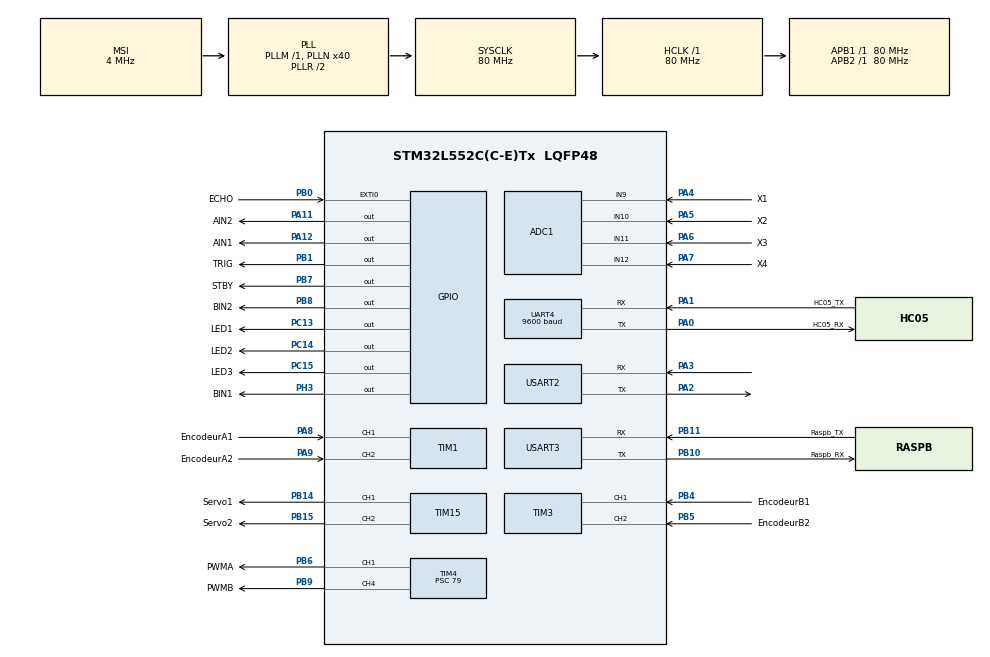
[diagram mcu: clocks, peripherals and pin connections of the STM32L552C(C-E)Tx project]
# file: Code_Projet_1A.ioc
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ADC1.Channel-0\#ChannelRegularConversion=ADC_CHANNEL_9
ADC1.Channel-1\#ChannelRegularConversion=ADC_CHANNEL_10
ADC1.Channel-2\#ChannelRegularConversion=ADC_CHANNEL_11
ADC1.Channel-3\#ChannelRegularConversion=ADC_CHANNEL_12
ADC1.ContinuousConvMode=ENABLE
ADC1.DMAContinuousRequests=ENABLE
ADC1.EOCSelection=ADC_EOC_SEQ_CONV
ADC1.NbrOfConversion=4
ADC1.NbrOfConversionFlag=1
ADC1.OffsetNumber-0\#ChannelRegularConversion=ADC_OFFSET_NONE
ADC1.OffsetNumber-1\#ChannelRegularConversion=ADC_OFFSET_NONE
ADC1.OffsetNumber-2\#ChannelRegularConversion=ADC_OFFSET_NONE
ADC1.OffsetNumber-3\#ChannelRegularConversion=ADC_OFFSET_NONE
ADC1.Rank-0\#ChannelRegularConversion=1
ADC1.Rank-1\#ChannelRegularConversion=2
ADC1.Rank-2\#ChannelRegularConversion=3
ADC1.Rank-3\#ChannelRegularConversion=4
ADC1.SamplingTime-0\#ChannelRegularConversion=ADC_SAMPLETIME_92CYCLES_5
ADC1.SamplingTime-1\#ChannelRegularConversion=ADC_SAMPLETIME_92CYCLES_5
ADC1.SamplingTime-2\#ChannelRegularConversion=ADC_SAMPLETIME_92CYCLES_5
ADC1.SamplingTime-3\#ChannelRegularConversion=ADC_SAMPLETIME_92CYCLES_5
ADC1.master=1
Dma.ADC1.0.Channel_PRIV_NPRIV=DMA_CHANNEL_NPRIV_DISABLE
Dma.ADC1.0.Direction=DMA_PERIPH_TO_MEMORY
Dma.ADC1.0.EventEnable=DISABLE
Dma.ADC1.0.Instance=DMA1_Channel1
Dma.ADC1.0.MemDataAlignment=DMA_MDATAALIGN_HALFWORD
Dma.ADC1.0.MemInc=DMA_MINC_ENABLE
Dma.ADC1.0.Mode=DMA_CIRCULAR
Dma.ADC1.0.PeriphDataAlignment=DMA_PDATAALIGN_HALFWORD
Dma.ADC1.0.PeriphInc=DMA_PINC_DISABLE
Dma.ADC1.0.Polarity=HAL_DMAMUX_REQ_GEN_RISING
Dma.ADC1.0.Priority=DMA_PRIORITY_LOW
Dma.ADC1.0.RequestNumber=1
Dma.ADC1.0.SignalID=NONE
Dma.ADC1.0.SyncEnable=DISABLE
Dma.ADC1.0.SyncPolarity=HAL_DMAMUX_SYNC_NO_EVENT
Dma.ADC1.0.SyncRequestNumber=1
Dma.ADC1.0.SyncSignalID=NONE
Dma.Request0=ADC1
Mcu.Family=STM32L5
Mcu.Name=STM32L552C(C-E)Tx
Mcu.Package=LQFP48
NVIC.DMA1_Channel1_IRQn=true\:0\:0\:false\:false\:true\:false\:true\:true
NVIC.PriorityGroup=NVIC_PRIORITYGROUP_3
NVIC.UART4_IRQn=true\:0\:0\:false\:false\:true\:true\:true\:true
PA0.GPIO_Label=HC05_RX
PA0.Mode=Asynchronous
PA0.Signal=UART4_TX
PA1.GPIO_Label=HC05_TX
PA1.Mode=Asynchronous
PA1.Signal=UART4_RX
PA11.GPIO_Label=AIN2
PA11.Signal=GPIO_Output
PA12.GPIO_Label=AIN1
PA12.Signal=GPIO_Output
PA13\ (JTMS/SWDIO).Mode=Trace_Asynchronous_SW
PA13\ (JTMS/SWDIO).Signal=DEBUG_JTMS-SWDIO
PA14\ (JTCK/SWCLK).Mode=Trace_Asynchronous_SW
PA14\ (JTCK/SWCLK).Signal=DEBUG_JTCK-SWCLK
PA2.Mode=Asynchronous
PA2.Signal=USART2_TX
PA3.Mode=Asynchronous
PA3.Signal=USART2_RX
PA4.GPIO_Label=X1
PA4.Signal=ADCx_IN9
PA5.GPIO_Label=X2
PA5.Signal=ADCx_IN10
PA6.GPIO_Label=X3
PA6.Signal=ADCx_IN11
PA7.GPIO_Label=X4
PA7.Signal=ADCx_IN12
PA8.GPIO_Label=EncodeurA1
PA8.Signal=S_TIM1_CH1
PA9.GPIO_Label=EncodeurA2
PA9.Signal=S_TIM1_CH2
PB0.GPIO_Label=ECHO
PB0.Signal=GPXTI0
PB1.GPIO_Label=TRIG
PB1.Signal=GPIO_Output
PB10.GPIO_Label=Raspb_RX
PB10.Mode=Asynchronous
PB10.Signal=USART3_TX
PB11.GPIO_Label=Raspb_TX
PB11.Mode=Asynchronous
PB11.Signal=USART3_RX
PB14.GPIO_Label=Servo1
PB14.Signal=S_TIM15_CH1
PB15.GPIO_Label=Servo2
PB15.Signal=S_TIM15_CH2
PB3\ (JTDO/TRACESWO).Mode=Trace_Asynchronous_SW
PB3\ (JTDO/TRACESWO).Signal=DEBUG_JTDO-SWO
PB4\ (NJTRST).GPIO_Label=EncodeurB1
PB4\ (NJTRST).Signal=S_TIM3_CH1
PB5.GPIO_Label=EncodeurB2
PB5.Signal=S_TIM3_CH2
PB6.GPIO_Label=PWMA
PB6.Signal=S_TIM4_CH1
PB7.GPIO_Label=STBY
PB7.Signal=GPIO_Output
PB8.GPIO_Label=BIN2
PB8.Signal=GPIO_Output
PB9.GPIO_Label=PWMB
PB9.Signal=S_TIM4_CH4
PC13.GPIO_Label=LED1
PC13.Signal=GPIO_Output
PC14-OSC32_IN\ (PC14).GPIO_Label=LED2
PC14-OSC32_IN\ (PC14).Signal=GPIO_Output
PC15-OSC32_OUT\ (PC15).GPIO_Label=LED3
PC15-OSC32_OUT\ (PC15).Signal=GPIO_Output
PH3-BOOT0.GPIO_Label=BIN1
PH3-BOOT0.Signal=GPIO_Output
ProjectManager.HeapSize=0x200
ProjectManager.StackSize=0x400
ProjectManager.TargetToolchain=STM32CubeIDE
RCC.ADCFreq_Value=32000000
RCC.AHBFreq_Value=80000000
RCC.APB1Freq_Value=80000000
RCC.APB1TimFreq_Value=80000000
RCC.APB2Freq_Value=80000000
RCC.APB2TimFreq_Value=80000000
RCC.CortexFreq_Value=80000000
RCC.HCLKFreq_Value=80000000
RCC.HSE_VALUE=16000000
RCC.HSI48_VALUE=48000000
RCC.HSI_VALUE=16000000
RCC.LSE_VALUE=32768
RCC.MSI_VALUE=4000000
RCC.PLLN=40
RCC.PLLSAI1N=16
RCC.SYSCLKFreq_VALUE=80000000
RCC.SYSCLKSource=RCC_SYSCLKSOURCE_PLLCLK
RCC.USBFreq_Value=32000000
RCC.VCOOutputFreq_Value=160000000
SH.ADCx_IN10.0=ADC1_IN10,IN10-Single-Ended
SH.ADCx_IN11.0=ADC1_IN11,IN11-Single-Ended
SH.ADCx_IN12.0=ADC1_IN12,IN12-Single-Ended
SH.ADCx_IN9.0=ADC1_IN9,IN9-Single-Ended
SH.S_TIM15_CH1.0=TIM15_CH1,PWM Generation1 CH1
SH.S_TIM15_CH2.0=TIM15_CH2,PWM Generation2 CH2
SH.S_TIM1_CH1.0=TIM1_CH1,Encoder_Interface
SH.S_TIM1_CH2.0=TIM1_CH2,Encoder_Interface
SH.S_TIM3_CH1.0=TIM3_CH1,Encoder_Interface
SH.S_TIM3_CH2.0=TIM3_CH2,Encoder_Interface
SH.S_TIM4_CH1.0=TIM4_CH1,PWM Generation1 CH1
SH.S_TIM4_CH4.0=TIM4_CH4,PWM Generation4 CH4
TIM15.Channel-PWM\ Generation1\ CH1=TIM_CHANNEL_1
TIM15.Channel-PWM\ Generation2\ CH2=TIM_CHANNEL_2
TIM4.Channel-PWM\ Generation1\ CH1=TIM_CHANNEL_1
TIM4.Channel-PWM\ Generation4\ CH4=TIM_CHANNEL_4
TIM4.Period=199
TIM4.Prescaler=79
UART4.BaudRate=9600
USART2.VirtualMode-Asynchronous=VM_ASYNC
USART3.VirtualMode-Asynchronous=VM_ASYNC
VP_ICACHE_VS_ICACHE.Mode=DirectMappedCache
VP_PWR_VS_DBSignals.Mode=DisableDeadBatterySignals
VP_PWR_VS_SECSignals.Mode=Security/Privilege
VP_TIM15_VS_ClockSourceINT.Mode=Internal
VP_TIM4_VS_ClockSourceINT.Mode=Internal
board=custom

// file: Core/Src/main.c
/* USER CODE BEGIN Header */
/**
  ******************************************************************************
  * @file           : main.c
  * @brief          : Main program body
  ******************************************************************************
  * @attention
  *
  * Copyright (c) 2025 STMicroelectronics.
  * All rights reserved.
  *
  * This software is licensed under terms that can be found in the LICENSE file
  * in the root directory of this software component.
  * If no LICENSE file comes with this software, it is provided AS-IS.
  *
  ******************************************************************************
  */
/* USER CODE END Header */
#include "main.h"

/* USER CODE BEGIN Includes */
#include <stdio.h>
#include <string.h>
#include "Functions.h"
/* USER CODE END Includes */

/* USER CODE BEGIN PD */
#define BUFFER_SIZE 1

#define LED_BLUE_PIN GPIO_PIN_15
#define LED_BLUE_PORT GPIOA
/* USER CODE END PD */

ADC_HandleTypeDef hadc1;
DMA_HandleTypeDef hdma_adc1;

TIM_HandleTypeDef htim1;
TIM_HandleTypeDef htim3;
TIM_HandleTypeDef htim4;
TIM_HandleTypeDef htim15;

UART_HandleTypeDef huart4;
UART_HandleTypeDef huart2;
UART_HandleTypeDef huart3;

/* USER CODE BEGIN PV */
uint8_t received_data;

/* USER CODE END PV */

void SystemClock_Config(void);
static void MX_GPIO_Init(void);
static void MX_DMA_Init(void);
static void MX_USART2_UART_Init(void);
static void MX_TIM1_Init(void);
static void MX_UART4_Init(void);
static void MX_ADC1_Init(void);
static void MX_ICACHE_Init(void);
static void MX_TIM4_Init(void);
static void MX_TIM3_Init(void);
static void MX_TIM15_Init(void);
static void MX_USART3_UART_Init(void);

/* USER CODE BEGIN 0 */
int _write(int file, char *ptr, int len)
{
    HAL_UART_Transmit(&huart2, (uint8_t*)ptr, len, HAL_MAX_DELAY);
    return len;
}

void HAL_UART_RxCpltCallback(UART_HandleTypeDef *huart) {
    if (huart->Instance == UART4) {
    	LEDshow();
        printf("Commande reçue : %c\r\n", received_data);  // Affichage de la réception

        switch (received_data) {
            case 'z': Motor_Forward(); printf("Avance\n"); break;
            case 's': Motor_Backward(); printf("Recule\n"); break;
            case 'q': Motor_Left(); printf("Gauche\n"); break;
            case 'd': Motor_Right(); printf("Droite\n"); break;
            case ' ': Motor_Stop(); printf("Stop\n"); break;
            case 't': ToggleSpeed(); printf("ToggledSpeed\n"); break;
            default: printf("Commande inconnue\n"); break;
        }

        HAL_UART_Receive_IT(&huart4, &received_data, 1);
    }
}

/* USER CODE END 0 */

int main(void)
{

  /* MCU Configuration--------------------------------------------------------*/

  /* Reset of all peripherals, Initializes the Flash interface and the Systick. */
  HAL_Init();

  /* Configure the system clock */
  SystemClock_Config();

  /* Initialize all configured peripherals */
  MX_GPIO_Init();
  MX_DMA_Init();
  MX_USART2_UART_Init();
  MX_TIM1_Init();
  MX_UART4_Init();
  MX_ADC1_Init();
  MX_ICACHE_Init();
  MX_TIM4_Init();
  MX_TIM3_Init();
  MX_TIM15_Init();
  MX_USART3_UART_Init();
  /* USER CODE BEGIN 2 */
  HAL_GPIO_WritePin(STBY_GPIO_Port, STBY_Pin, 1);
  // For the motors
  HAL_TIM_PWM_Start(&htim4, TIM_CHANNEL_1);
  HAL_TIM_PWM_Start(&htim4, TIM_CHANNEL_4);
  HAL_UART_Receive_IT(&huart4, &received_data, 1);
  /* USER CODE END 2 */

  /* Infinite loop */
  /* USER CODE BEGIN WHILE */
  while (1)
  {
	 // HAL_Delay(100);
    /* USER CODE END WHILE */

  }
}

void SystemClock_Config(void)
{
  RCC_OscInitTypeDef RCC_OscInitStruct = {0};
  RCC_ClkInitTypeDef RCC_ClkInitStruct = {0};

  /** Configure the main internal regulator output voltage
  */
  if (HAL_PWREx_ControlVoltageScaling(PWR_REGULATOR_VOLTAGE_SCALE1) != HAL_OK)
  {
    Error_Handler();
  }

  /** Initializes the RCC Oscillators according to the specified parameters
  * in the RCC_OscInitTypeDef structure.
  */
  RCC_OscInitStruct.OscillatorType = RCC_OSCILLATORTYPE_MSI;
  RCC_OscInitStruct.MSIState = RCC_MSI_ON;
  RCC_OscInitStruct.MSICalibrationValue = RCC_MSICALIBRATION_DEFAULT;
  RCC_OscInitStruct.MSIClockRange = RCC_MSIRANGE_6;
  RCC_OscInitStruct.PLL.PLLState = RCC_PLL_ON;
  RCC_OscInitStruct.PLL.PLLSource = RCC_PLLSOURCE_MSI;
  RCC_OscInitStruct.PLL.PLLM = 1;
  RCC_OscInitStruct.PLL.PLLN = 40;
  RCC_OscInitStruct.PLL.PLLP = RCC_PLLP_DIV7;
  RCC_OscInitStruct.PLL.PLLQ = RCC_PLLQ_DIV2;
  RCC_OscInitStruct.PLL.PLLR = RCC_PLLR_DIV2;
  if (HAL_RCC_OscConfig(&RCC_OscInitStruct) != HAL_OK)
  {
    Error_Handler();
  }

  /** Initializes the CPU, AHB and APB buses clocks
  */
  RCC_ClkInitStruct.ClockType = RCC_CLOCKTYPE_HCLK|RCC_CLOCKTYPE_SYSCLK
                              |RCC_CLOCKTYPE_PCLK1|RCC_CLOCKTYPE_PCLK2;
  RCC_ClkInitStruct.SYSCLKSource = RCC_SYSCLKSOURCE_PLLCLK;
  RCC_ClkInitStruct.AHBCLKDivider = RCC_SYSCLK_DIV1;
  RCC_ClkInitStruct.APB1CLKDivider = RCC_HCLK_DIV1;
  RCC_ClkInitStruct.APB2CLKDivider = RCC_HCLK_DIV1;

  if (HAL_RCC_ClockConfig(&RCC_ClkInitStruct, FLASH_LATENCY_3) != HAL_OK)
  {
    Error_Handler();
  }
}

static void MX_ADC1_Init(void)
{

  ADC_MultiModeTypeDef multimode = {0};
  ADC_ChannelConfTypeDef sConfig = {0};

  /** Common config
  */
  hadc1.Instance = ADC1;
  hadc1.Init.ClockPrescaler = ADC_CLOCK_ASYNC_DIV1;
  hadc1.Init.Resolution = ADC_RESOLUTION_12B;
  hadc1.Init.DataAlign = ADC_DATAALIGN_RIGHT;
  hadc1.Init.ScanConvMode = ADC_SCAN_ENABLE;
  hadc1.Init.EOCSelection = ADC_EOC_SEQ_CONV;
  hadc1.Init.LowPowerAutoWait = DISABLE;
  hadc1.Init.ContinuousConvMode = ENABLE;
  hadc1.Init.NbrOfConversion = 4;
  hadc1.Init.DiscontinuousConvMode = DISABLE;
  hadc1.Init.ExternalTrigConv = ADC_SOFTWARE_START;
  hadc1.Init.ExternalTrigConvEdge = ADC_EXTERNALTRIGCONVEDGE_NONE;
  hadc1.Init.DMAContinuousRequests = ENABLE;
  hadc1.Init.Overrun = ADC_OVR_DATA_PRESERVED;
  hadc1.Init.OversamplingMode = DISABLE;
  if (HAL_ADC_Init(&hadc1) != HAL_OK)
  {
    Error_Handler();
  }

  /** Configure the ADC multi-mode
  */
  multimode.Mode = ADC_MODE_INDEPENDENT;
  if (HAL_ADCEx_MultiModeConfigChannel(&hadc1, &multimode) != HAL_OK)
  {
    Error_Handler();
  }

  /** Configure Regular Channel
  */
  sConfig.Channel = ADC_CHANNEL_9;
  sConfig.Rank = ADC_REGULAR_RANK_1;
  sConfig.SamplingTime = ADC_SAMPLETIME_92CYCLES_5;
  sConfig.SingleDiff = ADC_SINGLE_ENDED;
  sConfig.OffsetNumber = ADC_OFFSET_NONE;
  sConfig.Offset = 0;
  if (HAL_ADC_ConfigChannel(&hadc1, &sConfig) != HAL_OK)
  {
    Error_Handler();
  }

  /** Configure Regular Channel
  */
  sConfig.Channel = ADC_CHANNEL_10;
  sConfig.Rank = ADC_REGULAR_RANK_2;
  if (HAL_ADC_ConfigChannel(&hadc1, &sConfig) != HAL_OK)
  {
    Error_Handler();
  }

  /** Configure Regular Channel
  */
  sConfig.Channel = ADC_CHANNEL_11;
  sConfig.Rank = ADC_REGULAR_RANK_3;
  if (HAL_ADC_ConfigChannel(&hadc1, &sConfig) != HAL_OK)
  {
    Error_Handler();
  }

  /** Configure Regular Channel
  */
  sConfig.Channel = ADC_CHANNEL_12;
  sConfig.Rank = ADC_REGULAR_RANK_4;
  if (HAL_ADC_ConfigChannel(&hadc1, &sConfig) != HAL_OK)
  {
    Error_Handler();
  }

}

static void MX_ICACHE_Init(void)
{

  /** Enable instruction cache in 1-way (direct mapped cache)
  */
  if (HAL_ICACHE_ConfigAssociativityMode(ICACHE_1WAY) != HAL_OK)
  {
    Error_Handler();
  }
  if (HAL_ICACHE_Enable() != HAL_OK)
  {
    Error_Handler();
  }

}

static void MX_TIM1_Init(void)
{

  TIM_Encoder_InitTypeDef sConfig = {0};
  TIM_MasterConfigTypeDef sMasterConfig = {0};

  htim1.Instance = TIM1;
  htim1.Init.Prescaler = 0;
  htim1.Init.CounterMode = TIM_COUNTERMODE_UP;
  htim1.Init.Period = 65535;
  htim1.Init.ClockDivision = TIM_CLOCKDIVISION_DIV1;
  htim1.Init.RepetitionCounter = 0;
  htim1.Init.AutoReloadPreload = TIM_AUTORELOAD_PRELOAD_DISABLE;
  sConfig.EncoderMode = TIM_ENCODERMODE_TI1;
  sConfig.IC1Polarity = TIM_ICPOLARITY_RISING;
  sConfig.IC1Selection = TIM_ICSELECTION_DIRECTTI;
  sConfig.IC1Prescaler = TIM_ICPSC_DIV1;
  sConfig.IC1Filter = 0;
  sConfig.IC2Polarity = TIM_ICPOLARITY_RISING;
  sConfig.IC2Selection = TIM_ICSELECTION_DIRECTTI;
  sConfig.IC2Prescaler = TIM_ICPSC_DIV1;
  sConfig.IC2Filter = 0;
  if (HAL_TIM_Encoder_Init(&htim1, &sConfig) != HAL_OK)
  {
    Error_Handler();
  }
  sMasterConfig.MasterOutputTrigger = TIM_TRGO_RESET;
  sMasterConfig.MasterOutputTrigger2 = TIM_TRGO2_RESET;
  sMasterConfig.MasterSlaveMode = TIM_MASTERSLAVEMODE_DISABLE;
  if (HAL_TIMEx_MasterConfigSynchronization(&htim1, &sMasterConfig) != HAL_OK)
  {
    Error_Handler();
  }

}

static void MX_TIM3_Init(void)
{

  TIM_Encoder_InitTypeDef sConfig = {0};
  TIM_MasterConfigTypeDef sMasterConfig = {0};

  htim3.Instance = TIM3;
  htim3.Init.Prescaler = 0;
  htim3.Init.CounterMode = TIM_COUNTERMODE_UP;
  htim3.Init.Period = 65535;
  htim3.Init.ClockDivision = TIM_CLOCKDIVISION_DIV1;
  htim3.Init.AutoReloadPreload = TIM_AUTORELOAD_PRELOAD_DISABLE;
  sConfig.EncoderMode = TIM_ENCODERMODE_TI1;
  sConfig.IC1Polarity = TIM_ICPOLARITY_RISING;
  sConfig.IC1Selection = TIM_ICSELECTION_DIRECTTI;
  sConfig.IC1Prescaler = TIM_ICPSC_DIV1;
  sConfig.IC1Filter = 0;
  sConfig.IC2Polarity = TIM_ICPOLARITY_RISING;
  sConfig.IC2Selection = TIM_ICSELECTION_DIRECTTI;
  sConfig.IC2Prescaler = TIM_ICPSC_DIV1;
  sConfig.IC2Filter = 0;
  if (HAL_TIM_Encoder_Init(&htim3, &sConfig) != HAL_OK)
  {
    Error_Handler();
  }
  sMasterConfig.MasterOutputTrigger = TIM_TRGO_RESET;
  sMasterConfig.MasterSlaveMode = TIM_MASTERSLAVEMODE_DISABLE;
  if (HAL_TIMEx_MasterConfigSynchronization(&htim3, &sMasterConfig) != HAL_OK)
  {
    Error_Handler();
  }

}

static void MX_TIM4_Init(void)
{

  TIM_ClockConfigTypeDef sClockSourceConfig = {0};
  TIM_MasterConfigTypeDef sMasterConfig = {0};
  TIM_OC_InitTypeDef sConfigOC = {0};

  htim4.Instance = TIM4;
  htim4.Init.Prescaler = 79;
  htim4.Init.CounterMode = TIM_COUNTERMODE_UP;
  htim4.Init.Period = 199;
  htim4.Init.ClockDivision = TIM_CLOCKDIVISION_DIV1;
  htim4.Init.AutoReloadPreload = TIM_AUTORELOAD_PRELOAD_DISABLE;
  if (HAL_TIM_Base_Init(&htim4) != HAL_OK)
  {
    Error_Handler();
  }
  sClockSourceConfig.ClockSource = TIM_CLOCKSOURCE_INTERNAL;
  if (HAL_TIM_ConfigClockSource(&htim4, &sClockSourceConfig) != HAL_OK)
  {
    Error_Handler();
  }
  if (HAL_TIM_PWM_Init(&htim4) != HAL_OK)
  {
    Error_Handler();
  }
  sMasterConfig.MasterOutputTrigger = TIM_TRGO_RESET;
  sMasterConfig.MasterSlaveMode = TIM_MASTERSLAVEMODE_DISABLE;
  if (HAL_TIMEx_MasterConfigSynchronization(&htim4, &sMasterConfig) != HAL_OK)
  {
    Error_Handler();
  }
  sConfigOC.OCMode = TIM_OCMODE_PWM1;
  sConfigOC.Pulse = 0;
  sConfigOC.OCPolarity = TIM_OCPOLARITY_HIGH;
  sConfigOC.OCFastMode = TIM_OCFAST_DISABLE;
  if (HAL_TIM_PWM_ConfigChannel(&htim4, &sConfigOC, TIM_CHANNEL_1) != HAL_OK)
  {
    Error_Handler();
  }
  if (HAL_TIM_PWM_ConfigChannel(&htim4, &sConfigOC, TIM_CHANNEL_4) != HAL_OK)
  {
    Error_Handler();
  }
  HAL_TIM_MspPostInit(&htim4);

}

static void MX_TIM15_Init(void)
{

  TIM_ClockConfigTypeDef sClockSourceConfig = {0};
  TIM_MasterConfigTypeDef sMasterConfig = {0};
  TIM_OC_InitTypeDef sConfigOC = {0};
  TIM_BreakDeadTimeConfigTypeDef sBreakDeadTimeConfig = {0};

  htim15.Instance = TIM15;
  htim15.Init.Prescaler = 0;
  htim15.Init.CounterMode = TIM_COUNTERMODE_UP;
  htim15.Init.Period = 65535;
  htim15.Init.ClockDivision = TIM_CLOCKDIVISION_DIV1;
  htim15.Init.RepetitionCounter = 0;
  htim15.Init.AutoReloadPreload = TIM_AUTORELOAD_PRELOAD_DISABLE;
  if (HAL_TIM_Base_Init(&htim15) != HAL_OK)
  {
    Error_Handler();
  }
  sClockSourceConfig.ClockSource = TIM_CLOCKSOURCE_INTERNAL;
  if (HAL_TIM_ConfigClockSource(&htim15, &sClockSourceConfig) != HAL_OK)
  {
    Error_Handler();
  }
  if (HAL_TIM_PWM_Init(&htim15) != HAL_OK)
  {
    Error_Handler();
  }
  sMasterConfig.MasterOutputTrigger = TIM_TRGO_RESET;
  sMasterConfig.MasterSlaveMode = TIM_MASTERSLAVEMODE_DISABLE;
  if (HAL_TIMEx_MasterConfigSynchronization(&htim15, &sMasterConfig) != HAL_OK)
  {
    Error_Handler();
  }
  sConfigOC.OCMode = TIM_OCMODE_PWM1;
  sConfigOC.Pulse = 0;
  sConfigOC.OCPolarity = TIM_OCPOLARITY_HIGH;
  sConfigOC.OCNPolarity = TIM_OCNPOLARITY_HIGH;
  sConfigOC.OCFastMode = TIM_OCFAST_DISABLE;
  sConfigOC.OCIdleState = TIM_OCIDLESTATE_RESET;
  sConfigOC.OCNIdleState = TIM_OCNIDLESTATE_RESET;
  if (HAL_TIM_PWM_ConfigChannel(&htim15, &sConfigOC, TIM_CHANNEL_1) != HAL_OK)
  {
    Error_Handler();
  }
  if (HAL_TIM_PWM_ConfigChannel(&htim15, &sConfigOC, TIM_CHANNEL_2) != HAL_OK)
  {
    Error_Handler();
  }
  sBreakDeadTimeConfig.OffStateRunMode = TIM_OSSR_DISABLE;
  sBreakDeadTimeConfig.OffStateIDLEMode = TIM_OSSI_DISABLE;
  sBreakDeadTimeConfig.LockLevel = TIM_LOCKLEVEL_OFF;
  sBreakDeadTimeConfig.DeadTime = 0;
  sBreakDeadTimeConfig.BreakState = TIM_BREAK_DISABLE;
  sBreakDeadTimeConfig.BreakPolarity = TIM_BREAKPOLARITY_HIGH;
  sBreakDeadTimeConfig.BreakFilter = 0;
  sBreakDeadTimeConfig.AutomaticOutput = TIM_AUTOMATICOUTPUT_DISABLE;
  if (HAL_TIMEx_ConfigBreakDeadTime(&htim15, &sBreakDeadTimeConfig) != HAL_OK)
  {
    Error_Handler();
  }
  HAL_TIM_MspPostInit(&htim15);

}

static void MX_UART4_Init(void)
{

  huart4.Instance = UART4;
  huart4.Init.BaudRate = 9600;
  huart4.Init.WordLength = UART_WORDLENGTH_8B;
  huart4.Init.StopBits = UART_STOPBITS_1;
  huart4.Init.Parity = UART_PARITY_NONE;
  huart4.Init.Mode = UART_MODE_TX_RX;
  huart4.Init.HwFlowCtl = UART_HWCONTROL_NONE;
  huart4.Init.OverSampling = UART_OVERSAMPLING_16;
  huart4.Init.OneBitSampling = UART_ONE_BIT_SAMPLE_DISABLE;
  huart4.Init.ClockPrescaler = UART_PRESCALER_DIV1;
  huart4.AdvancedInit.AdvFeatureInit = UART_ADVFEATURE_NO_INIT;
  if (HAL_UART_Init(&huart4) != HAL_OK)
  {
    Error_Handler();
  }
  if (HAL_UARTEx_SetTxFifoThreshold(&huart4, UART_TXFIFO_THRESHOLD_1_8) != HAL_OK)
  {
    Error_Handler();
  }
  if (HAL_UARTEx_SetRxFifoThreshold(&huart4, UART_RXFIFO_THRESHOLD_1_8) != HAL_OK)
  {
    Error_Handler();
  }
  if (HAL_UARTEx_DisableFifoMode(&huart4) != HAL_OK)
  {
    Error_Handler();
  }

}

static void MX_USART2_UART_Init(void)
{

  huart2.Instance = USART2;
  huart2.Init.BaudRate = 115200;
  huart2.Init.WordLength = UART_WORDLENGTH_8B;
  huart2.Init.StopBits = UART_STOPBITS_1;
  huart2.Init.Parity = UART_PARITY_NONE;
  huart2.Init.Mode = UART_MODE_TX_RX;
  huart2.Init.HwFlowCtl = UART_HWCONTROL_NONE;
  huart2.Init.OverSampling = UART_OVERSAMPLING_16;
  huart2.Init.OneBitSampling = UART_ONE_BIT_SAMPLE_DISABLE;
  huart2.Init.ClockPrescaler = UART_PRESCALER_DIV1;
  huart2.AdvancedInit.AdvFeatureInit = UART_ADVFEATURE_NO_INIT;
  if (HAL_UART_Init(&huart2) != HAL_OK)
  {
    Error_Handler();
  }
  if (HAL_UARTEx_SetTxFifoThreshold(&huart2, UART_TXFIFO_THRESHOLD_1_8) != HAL_OK)
  {
    Error_Handler();
  }
  if (HAL_UARTEx_SetRxFifoThreshold(&huart2, UART_RXFIFO_THRESHOLD_1_8) != HAL_OK)
  {
    Error_Handler();
  }
  if (HAL_UARTEx_DisableFifoMode(&huart2) != HAL_OK)
  {
    Error_Handler();
  }

}

static void MX_USART3_UART_Init(void)
{

  huart3.Instance = USART3;
  huart3.Init.BaudRate = 115200;
  huart3.Init.WordLength = UART_WORDLENGTH_8B;
  huart3.Init.StopBits = UART_STOPBITS_1;
  huart3.Init.Parity = UART_PARITY_NONE;
  huart3.Init.Mode = UART_MODE_TX_RX;
  huart3.Init.HwFlowCtl = UART_HWCONTROL_NONE;
  huart3.Init.OverSampling = UART_OVERSAMPLING_16;
  huart3.Init.OneBitSampling = UART_ONE_BIT_SAMPLE_DISABLE;
  huart3.Init.ClockPrescaler = UART_PRESCALER_DIV1;
  huart3.AdvancedInit.AdvFeatureInit = UART_ADVFEATURE_NO_INIT;
  if (HAL_UART_Init(&huart3) != HAL_OK)
  {
    Error_Handler();
  }
  if (HAL_UARTEx_SetTxFifoThreshold(&huart3, UART_TXFIFO_THRESHOLD_1_8) != HAL_OK)
  {
    Error_Handler();
  }
  if (HAL_UARTEx_SetRxFifoThreshold(&huart3, UART_RXFIFO_THRESHOLD_1_8) != HAL_OK)
  {
    Error_Handler();
  }
  if (HAL_UARTEx_DisableFifoMode(&huart3) != HAL_OK)
  {
    Error_Handler();
  }

}

static void MX_DMA_Init(void)
{

  /* DMA controller clock enable */
  __HAL_RCC_DMAMUX1_CLK_ENABLE();
  __HAL_RCC_DMA1_CLK_ENABLE();

  /* DMA interrupt init */
  /* DMA1_Channel1_IRQn interrupt configuration */
  HAL_NVIC_SetPriority(DMA1_Channel1_IRQn, 0, 0);
  HAL_NVIC_EnableIRQ(DMA1_Channel1_IRQn);

}

static void MX_GPIO_Init(void)
{
  GPIO_InitTypeDef GPIO_InitStruct = {0};

  /* GPIO Ports Clock Enable */
  __HAL_RCC_GPIOC_CLK_ENABLE();
  __HAL_RCC_GPIOA_CLK_ENABLE();
  __HAL_RCC_GPIOB_CLK_ENABLE();
  __HAL_RCC_GPIOH_CLK_ENABLE();

  /*Configure GPIO pin Output Level */
  HAL_GPIO_WritePin(GPIOC, LED1_Pin|LED2_Pin|LED3_Pin, GPIO_PIN_RESET);

  /*Configure GPIO pin Output Level */
  HAL_GPIO_WritePin(GPIOB, TRIG_Pin|STBY_Pin|BIN2_Pin, GPIO_PIN_RESET);

  /*Configure GPIO pin Output Level */
  HAL_GPIO_WritePin(GPIOA, AIN2_Pin|AIN1_Pin, GPIO_PIN_RESET);

  /*Configure GPIO pin Output Level */
  HAL_GPIO_WritePin(BIN1_GPIO_Port, BIN1_Pin, GPIO_PIN_RESET);

  /*Configure GPIO pins : LED1_Pin LED2_Pin LED3_Pin */
  GPIO_InitStruct.Pin = LED1_Pin|LED2_Pin|LED3_Pin;
  GPIO_InitStruct.Mode = GPIO_MODE_OUTPUT_PP;
  GPIO_InitStruct.Pull = GPIO_NOPULL;
  GPIO_InitStruct.Speed = GPIO_SPEED_FREQ_LOW;
  HAL_GPIO_Init(GPIOC, &GPIO_InitStruct);

  /*Configure GPIO pin : ECHO_Pin */
  GPIO_InitStruct.Pin = ECHO_Pin;
  GPIO_InitStruct.Mode = GPIO_MODE_IT_RISING;
  GPIO_InitStruct.Pull = GPIO_NOPULL;
  HAL_GPIO_Init(ECHO_GPIO_Port, &GPIO_InitStruct);

  /*Configure GPIO pins : TRIG_Pin STBY_Pin BIN2_Pin */
  GPIO_InitStruct.Pin = TRIG_Pin|STBY_Pin|BIN2_Pin;
  GPIO_InitStruct.Mode = GPIO_MODE_OUTPUT_PP;
  GPIO_InitStruct.Pull = GPIO_NOPULL;
  GPIO_InitStruct.Speed = GPIO_SPEED_FREQ_LOW;
  HAL_GPIO_Init(GPIOB, &GPIO_InitStruct);

  /*Configure GPIO pins : AIN2_Pin AIN1_Pin */
  GPIO_InitStruct.Pin = AIN2_Pin|AIN1_Pin;
  GPIO_InitStruct.Mode = GPIO_MODE_OUTPUT_PP;
  GPIO_InitStruct.Pull = GPIO_NOPULL;
  GPIO_InitStruct.Speed = GPIO_SPEED_FREQ_LOW;
  HAL_GPIO_Init(GPIOA, &GPIO_InitStruct);

  /*Configure GPIO pin : BIN1_Pin */
  GPIO_InitStruct.Pin = BIN1_Pin;
  GPIO_InitStruct.Mode = GPIO_MODE_OUTPUT_PP;
  GPIO_InitStruct.Pull = GPIO_NOPULL;
  GPIO_InitStruct.Speed = GPIO_SPEED_FREQ_LOW;
  HAL_GPIO_Init(BIN1_GPIO_Port, &GPIO_InitStruct);

}

void Error_Handler(void)
{
  __disable_irq();
  while (1)
  {
  }
}
